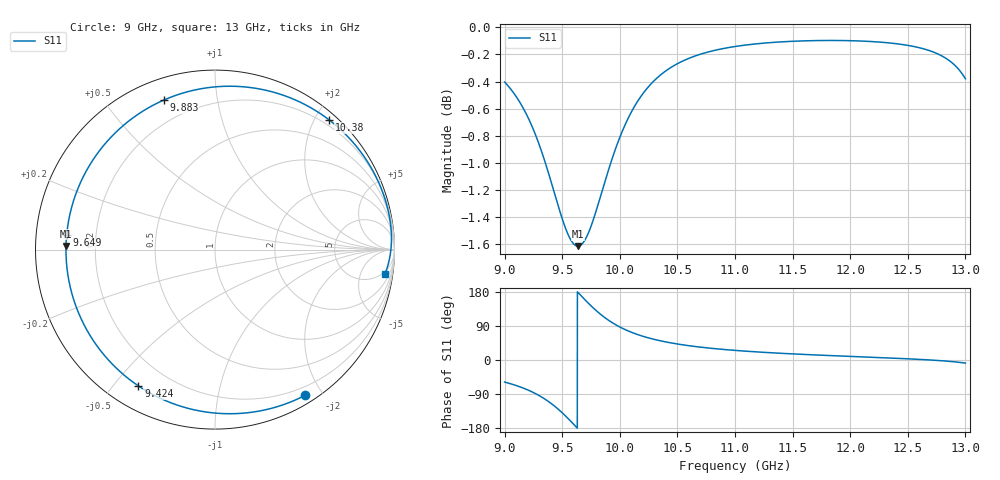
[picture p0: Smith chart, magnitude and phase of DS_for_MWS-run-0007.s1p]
! TOUCHSTONE file generated by CST DESIGN STUDIO
! Date and time: Tue Feb  4 17:27:17 2025
! Project name: C:\Work\MatlabApps\UnitCellOptimizationMatlab\CST\unitcell.cst
! Tree item: Tasks\Sweep1\SPara1\S-Parameters
! Header version: 2024
! Port assignment regex: !\s*Touchstone port\s*([0-9]+)\s*=\s*(CST MWS port|CST DES external port|CST DES block port)\s*(.+)\s* \(\"(.*)\"\)(\s*mode\s*([0-9]+))?.*
! Touchstone port assignment:
! Touchstone port 1 = CST DES external port 1 ("")
# GHz S MA R 50
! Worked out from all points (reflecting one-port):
!   4001 points, 9 GHz to 13 GHz, reference 50 ohm
!   lowest |S11| = -1.6 dB at 9.636 GHz (marker M1), VSWR 10.79, Z = 4.64 + j0.598 ohm
!   phase of S11 starts at -58 deg and turns -310 deg over the sweep
!   S11 on the Smith chart (normalised r, x): 9 GHz: 0.10, -1.79; 9.424 GHz: 0.09, -0.58; 9.649 GHz: 0.09, +0.05; 9.883 GHz: 0.10, +0.71; 10.38 GHz: 0.11, +2.21; 13 GHz: 4, -13
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9  0.9546 -58.3
9.058  0.9483 -63.2
9.133  0.9382 -70.8
9.263  0.9139 -87.8
9.349  0.8925 -103.0
9.424  0.8711 -119.3
9.5  0.8499 -139.3
9.572  0.8351 -160.9
9.636  0.8303 178.6
9.649  0.8305 174.4
9.707  0.8361 155.9
9.772  0.8497 136.6
9.827  0.8646 122.0
9.883  0.8806 108.9
9.938  0.8956 97.8
10  0.9107 87.1
10.085  0.9279 75.1
10.175  0.9419 65.0
10.273  0.9533 56.4
10.383  0.9625 48.7
10.5  0.9696 42.2
10.72  0.978 33.2
11  0.9838 25.3
11.5  0.9882 16.1
12  0.9887 9.5
12.5  0.9848 3.2
12.789  0.9763 -1.8
13  0.9572 -8.1
